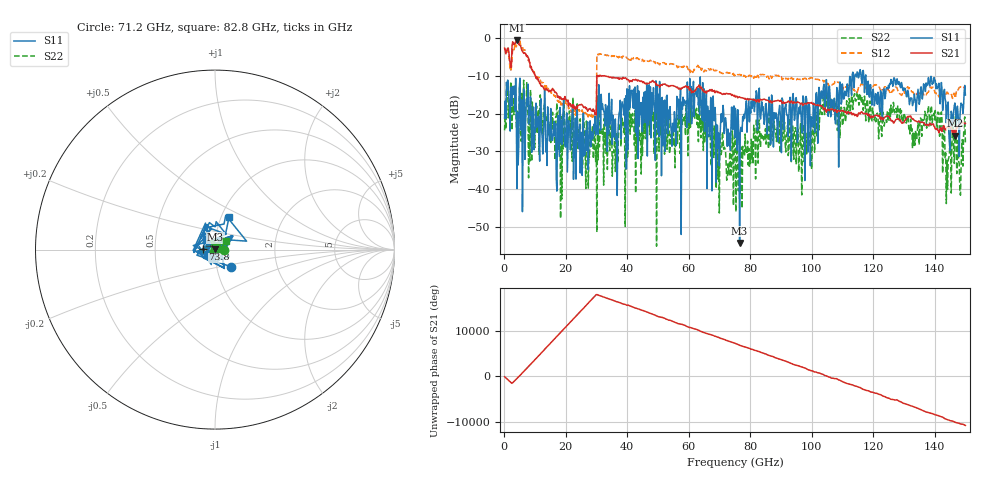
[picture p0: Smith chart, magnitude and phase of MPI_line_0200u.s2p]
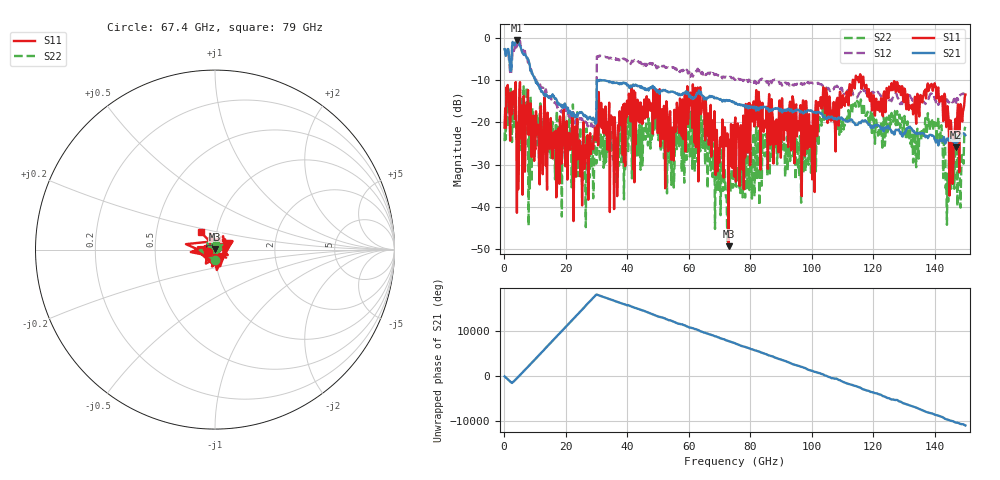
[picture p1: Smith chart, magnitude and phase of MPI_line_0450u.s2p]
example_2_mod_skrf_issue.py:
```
# -*- coding: utf-8 -*-
"""
Example 2 to demonstarte how to do mTRL calibration
This is a 1st-tier mTRL calibration (raw data from VNA)
"""

# part of python standard library
import os  

# need to be installed via pip
import skrf as rf      # for RF stuff
import numpy as np
import scipy as sp
import matplotlib.pyplot as plt   # for plotting

# my script (MultiCal.py and TUGmTRL must also be in same folder)
from mTRL import mTRL

def plot_2x2(NW, f_units='ghz', title='mTRL'):
    fig, axs = plt.subplots(2,2)
    NW.frequency.unit = f_units
    for inx in NW.port_tuples:
        NW.plot_s_db(m=inx[0], n=inx[1], ax=axs[inx])
    fig.suptitle(title)
    fig.tight_layout(pad=1.08)

def plot_2x2_v2(NW, fig, axs, f_units='ghz', title='mTRL'):
    NW.frequency.unit = f_units
    for inx in NW.port_tuples:
        NW.plot_s_db(m=inx[0], n=inx[1], ax=axs[inx])
    fig.suptitle(title)
    fig.tight_layout(pad=1.08)
    
# main script
if __name__ == '__main__':
    
    
    # load the measurements
    # files' path are reference to script's path
    s2p_path = os.path.dirname(os.path.realpath(__file__)) + '\\s2p_example_2\\'
    
    # switch terms
    gamma_f = rf.Network(s2p_path + 'VNA_switch_term.s2p').s21
    gamma_r = rf.Network(s2p_path + 'VNA_switch_term.s2p').s12
    
    # Calibration standards
    L1    = rf.Network(s2p_path + 'MPI_line_0200u.s2p')
    L2    = rf.Network(s2p_path + 'MPI_line_0450u.s2p')
    L3    = rf.Network(s2p_path + 'MPI_line_0900u.s2p')
    L4    = rf.Network(s2p_path + 'MPI_line_1800u.s2p')
    SHORT = rf.Network(s2p_path + 'MPI_short.s2p')
    
    # Verification lines (not part of mTRL)
    L5    = rf.Network(s2p_path + 'MPI_line_3500u.s2p')
    L6    = rf.Network(s2p_path + 'MPI_line_5250u.s2p')
    
    lines = [L1, L2, L3, L4
             , L5, L6
             ]
    line_lengths = [200e-6, 450e-6, 900e-6, 1800e-6
                    , 3500e-6, 5250e-6
                    ]
    reflect = [SHORT]
    reflect_est = [-1]
    reflect_offset = [0]
    
    cal = mTRL(lines=lines, line_lengths=line_lengths, reflect=reflect, 
               reflect_est=reflect_est, reflect_offset=reflect_offset, ereff_est=5+0j,
               switch_term=[gamma_f, gamma_r])
    
    # using NIST MultiCal mTRL
    cal.run_multical()
    L5_cal_nist = cal.apply_cal(L5)
    plot_2x2(L5_cal_nist, title='MultiCal mTRL')
    
    # using TUG mTRL
    cal.run_tug()
    L5_cal_tug = cal.apply_cal(L5)
    plot_2x2(L5_cal_tug, title='TUG mTRL')
    
    # skrf
    calskrf = rf.calibration.NISTMultilineTRL(
        measured= [lines[0]] + reflect + lines[1:],
        Grefls = reflect_est,
        l = [l-line_lengths[0] for l in line_lengths],
        switch_terms=[gamma_f, gamma_r])
    calskrf.run()
    L5_cal_skrf = calskrf.apply_cal(L5)
    plot_2x2(L5_cal_skrf, title='skrf mTRL')
    
    
    # all figures on top of each other
    fig, axs = plt.subplots(2,2)
    plot_2x2_v2(L5_cal_tug, fig, axs)
    plot_2x2_v2(L5_cal_skrf, fig, axs)
    plot_2x2_v2(L5_cal_nist, fig, axs)
    
    
    plt.show()
    
# EOF
```
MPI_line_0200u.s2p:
!  2-Port S-parameters saved by WinCal
! VAR MeasName=S-Parameters (RAW_DATA) read from VNA (MS4647B)
! VAR MeasDate=09-Dec-21 16:13:14
! VAR NAME=L0
! VAR FILENAME=L0.S2P
! VAR DATE=09-Dec-21 16:13:14
! VAR PHYS_PORTS=1,2
! VAR ObjTypeName=DATASET
! VAR IndexType=Frequency
# Hz S RI R 50
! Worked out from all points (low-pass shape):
!   750 points, 200 MHz to 150 GHz, reference 50 ohm
!   highest |S21| = -0.65 dB at 4.2 GHz (marker M1); lowest = -25.9 dB at 146.6 GHz (marker M2)
!   |S21| within 3 dB of the highest: 777.9 MHz to 1.556 GHz (778 MHz wide, 66.7 % of centre); 2.543 GHz to 6.068 GHz (3.526 GHz wide, 81.9 % of centre)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
!   lowest |S11| = -54.3 dB at 76.6 GHz (marker M3), VSWR 1.00, Z = 50.2 + j0.0714 ohm
!   |S11| at or under -10 dB: start of sweep to 113.2 GHz; 113.5485 GHz to 114.0448 GHz (496.3 MHz wide, 0.436 % of centre); 117.6 GHz to end of sweep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
!   |S22| runs from -55.1 to -11.2 dB; largest |S21 - S12| = 1.8
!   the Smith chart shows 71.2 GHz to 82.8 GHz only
!   S11 on the Smith chart (normalised r, x): 71.2 GHz: 1.17, -0.22; 73.8 GHz: 0.87, +0.00; 82.8 GHz: 1.09, +0.42
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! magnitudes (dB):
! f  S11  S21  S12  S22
! 200 MHz  -21.3  -2.7  -2.6  -24.5
! 4.2 GHz  -39.9  -0.6  -1.3  -24.3
! 29.4 GHz  -24.4  -19.2  -20.8  -27.4
! 30.8 GHz  -12.3  -10.2  -4.5  -19.5
! 71.2 GHz  -17.8  -14.9  -9.4  -26.4
! 73.8 GHz  -23.2  -14.9  -9.2  -36.7
! 75.2 GHz  -18.6  -15.7  -9.8  -28.1
! 76.6 GHz  -54.3  -15.6  -9.6  -37.5
! 82.8 GHz  -14.0  -17.0  -10.5  -22.4
! 146.6 GHz  -17.2  -25.9  -15.9  -22.7
! 150 GHz  -15.1  -22.6  -13.4  -27.6
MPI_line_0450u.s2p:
!  2-Port S-parameters saved by WinCal
! VAR MeasName=S-Parameters (RAW_DATA) read from VNA (MS4647B)
! VAR MeasDate=09-Dec-21 16:08:55
! VAR NAME=L1
! VAR FILENAME=L1.S2P
! VAR DATE=09-Dec-21 16:08:55
! VAR PHYS_PORTS=1,2
! VAR ObjTypeName=DATASET
! VAR IndexType=Frequency
# Hz S RI R 50
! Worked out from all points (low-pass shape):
!   750 points, 200 MHz to 150 GHz, reference 50 ohm
!   highest |S21| = -0.66 dB at 4.2 GHz (marker M1); lowest = -25.8 dB at 146.8 GHz (marker M2)
!   |S21| within 3 dB of the highest: 775.3 MHz to 1.557 GHz (781.5 MHz wide, 67 % of centre); 2.542 GHz to 6.061 GHz (3.519 GHz wide, 81.8 % of centre)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
!   lowest |S11| = -49.2 dB at 73 GHz (marker M3), VSWR 1.01, Z = 50.1 + j0.331 ohm
!   |S11| at or under -10 dB: start of sweep to 113.4 GHz; 113.6 GHz to 114.2 GHz (677.8 MHz wide, 0.595 % of centre); 116.9 GHz to end of sweep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
!   |S22| runs from -48.4 to -11.5 dB; largest |S21 - S12| = 1.8
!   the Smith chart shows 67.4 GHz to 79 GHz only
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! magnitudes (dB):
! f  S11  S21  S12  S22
! 200 MHz  -21.2  -2.7  -2.6  -24.4
! 4.2 GHz  -41.4  -0.7  -1.3  -23.7
! 29.4 GHz  -23.2  -19.3  -20.9  -25.1
! 30.8 GHz  -12.8  -10.2  -4.5  -20.4
! 36.4 GHz  -24.2  -10.7  -5.3  -23.8
! 63.6 GHz  -13.8  -12.9  -7.4  -24.3
! 73 GHz  -49.2  -14.8  -9.3  -30.7
! 75.2 GHz  -18.8  -15.7  -9.9  -31.7
! 114.6 GHz  -9.4  -20.6  -14.2  -16.1
! 146.8 GHz  -19.2  -25.8  -15.9  -22.4
! 150 GHz  -13.4  -23.0  -13.8  -21.0
